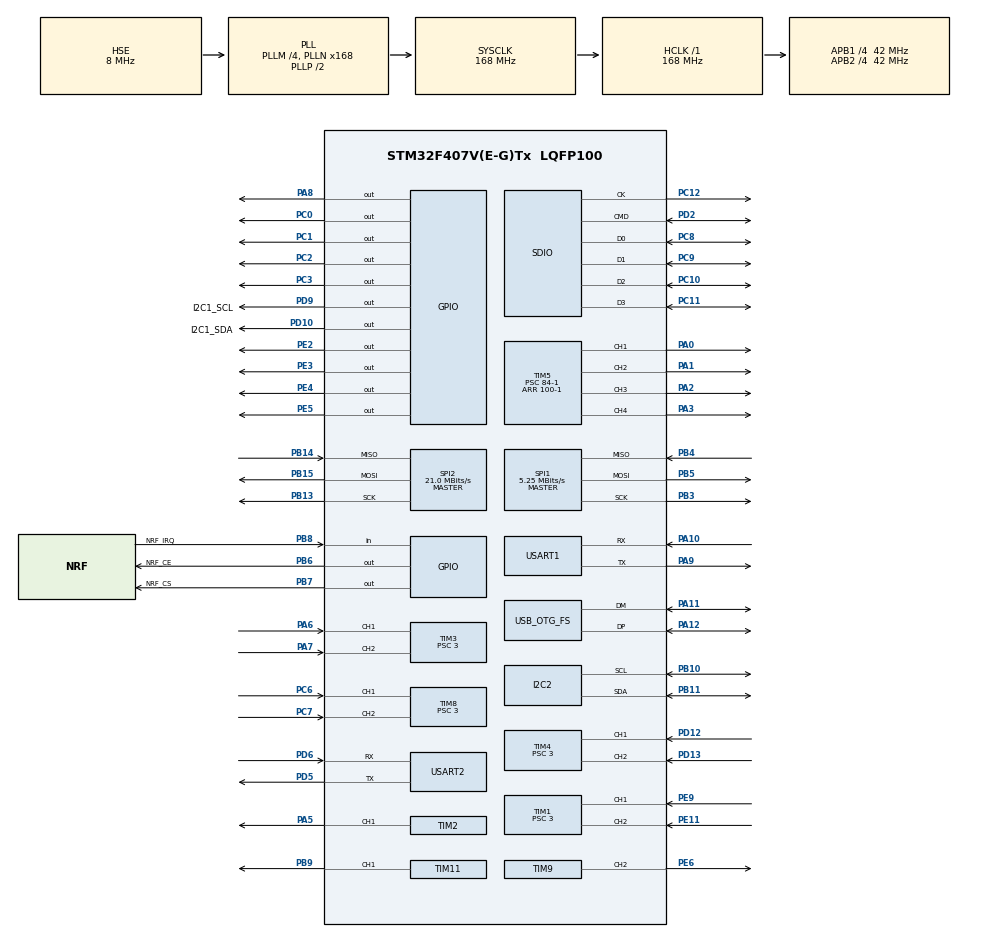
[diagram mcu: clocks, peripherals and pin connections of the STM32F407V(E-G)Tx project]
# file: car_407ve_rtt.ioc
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I2C2.I2C_Mode=I2C_Fast
Mcu.Family=STM32F4
Mcu.Name=STM32F407V(E-G)Tx
Mcu.Package=LQFP100
NVIC.OTG_FS_IRQn=true\:0\:0\:false\:false\:true\:true\:true
NVIC.PriorityGroup=NVIC_PRIORITYGROUP_4
PA0-WKUP.Signal=S_TIM5_CH1
PA1.Signal=S_TIM5_CH2
PA10.Mode=Asynchronous
PA10.Signal=USART1_RX
PA11.Mode=Device_Only
PA11.Signal=USB_OTG_FS_DM
PA12.Mode=Device_Only
PA12.Signal=USB_OTG_FS_DP
PA13.Mode=Serial_Wire
PA13.Signal=SYS_JTMS-SWDIO
PA14.Mode=Serial_Wire
PA14.Signal=SYS_JTCK-SWCLK
PA2.Signal=S_TIM5_CH3
PA3.Signal=S_TIM5_CH4
PA5.Signal=S_TIM2_CH1_ETR
PA6.Signal=S_TIM3_CH1
PA7.Signal=S_TIM3_CH2
PA8.Signal=GPIO_Output
PA9.Mode=Asynchronous
PA9.Signal=USART1_TX
PB10.Mode=I2C
PB10.Signal=I2C2_SCL
PB11.Mode=I2C
PB11.Signal=I2C2_SDA
PB13.Mode=Full_Duplex_Master
PB13.Signal=SPI2_SCK
PB14.Mode=Full_Duplex_Master
PB14.Signal=SPI2_MISO
PB15.Mode=Full_Duplex_Master
PB15.Signal=SPI2_MOSI
PB3.Mode=Full_Duplex_Master
PB3.Signal=SPI1_SCK
PB4.Mode=Full_Duplex_Master
PB4.Signal=SPI1_MISO
PB5.Mode=Full_Duplex_Master
PB5.Signal=SPI1_MOSI
PB6.GPIO_Label=NRF_CE
PB6.Signal=GPIO_Output
PB7.GPIO_Label=NRF_CS
PB7.Signal=GPIO_Output
PB8.GPIO_Label=NRF_IRQ
PB8.Signal=GPIO_Input
PB9.Signal=S_TIM11_CH1
PC0.Signal=GPIO_Output
PC1.Signal=GPIO_Output
PC10.Mode=SD_4_bits_Wide_bus
PC10.Signal=SDIO_D2
PC11.Mode=SD_4_bits_Wide_bus
PC11.Signal=SDIO_D3
PC12.Mode=SD_4_bits_Wide_bus
PC12.Signal=SDIO_CK
PC2.Signal=GPIO_Output
PC3.Signal=GPIO_Output
PC6.Signal=S_TIM8_CH1
PC7.Signal=S_TIM8_CH2
PC8.Mode=SD_4_bits_Wide_bus
PC8.Signal=SDIO_D0
PC9.Mode=SD_4_bits_Wide_bus
PC9.Signal=SDIO_D1
PD10.GPIO_Label=I2C1_SDA
PD10.Signal=GPIO_Output
PD12.Signal=S_TIM4_CH1
PD13.Signal=S_TIM4_CH2
PD2.Mode=SD_4_bits_Wide_bus
PD2.Signal=SDIO_CMD
PD5.Mode=Asynchronous
PD5.Signal=USART2_TX
PD6.Mode=Asynchronous
PD6.Signal=USART2_RX
PD9.GPIO_Label=I2C1_SCL
PD9.Signal=GPIO_Output
PE11.Signal=S_TIM1_CH2
PE2.Signal=GPIO_Output
PE3.Signal=GPIO_Output
PE4.Signal=GPIO_Output
PE5.Signal=GPIO_Output
PE6.Signal=S_TIM9_CH2
PE9.Signal=S_TIM1_CH1
PH0-OSC_IN.Mode=HSE-External-Oscillator
PH0-OSC_IN.Signal=RCC_OSC_IN
PH1-OSC_OUT.Mode=HSE-External-Oscillator
PH1-OSC_OUT.Signal=RCC_OSC_OUT
ProjectManager.HeapSize=0x2000
ProjectManager.StackSize=0x600
ProjectManager.TargetToolchain=EWARM V8
RCC.48MHZClocksFreq_Value=48000000
RCC.AHBFreq_Value=168000000
RCC.APB1CLKDivider=RCC_HCLK_DIV4
RCC.APB1Freq_Value=42000000
RCC.APB1TimFreq_Value=84000000
RCC.APB2CLKDivider=RCC_HCLK_DIV4
RCC.APB2Freq_Value=42000000
RCC.APB2TimFreq_Value=84000000
RCC.CortexFreq_Value=168000000
RCC.HCLKFreq_Value=168000000
RCC.HSE_VALUE=8000000
RCC.HSI_VALUE=16000000
RCC.LSE_VALUE=32768
RCC.PLLM=4
RCC.PLLN=168
RCC.PLLQ=7
RCC.SYSCLKFreq_VALUE=168000000
RCC.SYSCLKSource=RCC_SYSCLKSOURCE_PLLCLK
RCC.VCOOutputFreq_Value=336000000
SH.S_TIM11_CH1.0=TIM11_CH1,PWM Generation1 CH1
SH.S_TIM1_CH1.0=TIM1_CH1,Encoder_Interface
SH.S_TIM1_CH2.0=TIM1_CH2,Encoder_Interface
SH.S_TIM2_CH1_ETR.0=TIM2_CH1,PWM Generation1 CH1
SH.S_TIM3_CH1.0=TIM3_CH1,Encoder_Interface
SH.S_TIM3_CH2.0=TIM3_CH2,Encoder_Interface
SH.S_TIM4_CH1.0=TIM4_CH1,Encoder_Interface
SH.S_TIM4_CH2.0=TIM4_CH2,Encoder_Interface
SH.S_TIM5_CH1.0=TIM5_CH1,PWM Generation1 CH1
SH.S_TIM5_CH2.0=TIM5_CH2,PWM Generation2 CH2
SH.S_TIM5_CH3.0=TIM5_CH3,PWM Generation3 CH3
SH.S_TIM5_CH4.0=TIM5_CH4,PWM Generation4 CH4
SH.S_TIM8_CH1.0=TIM8_CH1,Encoder_Interface
SH.S_TIM8_CH2.0=TIM8_CH2,Encoder_Interface
SH.S_TIM9_CH2.0=TIM9_CH2,PWM Generation2 CH2
SPI1.BaudRatePrescaler=SPI_BAUDRATEPRESCALER_8
SPI1.CalculateBaudRate=5.25 MBits/s
SPI1.Direction=SPI_DIRECTION_2LINES
SPI1.Mode=SPI_MODE_MASTER
SPI1.VirtualType=VM_MASTER
SPI2.CalculateBaudRate=21.0 MBits/s
SPI2.Direction=SPI_DIRECTION_2LINES
SPI2.Mode=SPI_MODE_MASTER
SPI2.VirtualType=VM_MASTER
TIM1.EncoderMode=TIM_ENCODERMODE_TI12
TIM1.Period=65535
TIM1.Prescaler=3
TIM11.Channel=TIM_CHANNEL_1
TIM11.Period=20000-1
TIM11.Prescaler=84-1
TIM2.Channel-PWM\ Generation1\ CH1=TIM_CHANNEL_1
TIM2.Period=20000-1
TIM2.Prescaler=84-1
TIM3.EncoderMode=TIM_ENCODERMODE_TI12
TIM3.Period=65535
TIM3.Prescaler=3
TIM4.EncoderMode=TIM_ENCODERMODE_TI12
TIM4.Period=65535
TIM4.Prescaler=3
TIM5.Channel-PWM\ Generation1\ CH1=TIM_CHANNEL_1
TIM5.Channel-PWM\ Generation2\ CH2=TIM_CHANNEL_2
TIM5.Channel-PWM\ Generation3\ CH3=TIM_CHANNEL_3
TIM5.Channel-PWM\ Generation4\ CH4=TIM_CHANNEL_4
TIM5.Period=100-1
TIM5.Prescaler=84-1
TIM8.EncoderMode=TIM_ENCODERMODE_TI12
TIM8.Period=65535
TIM8.Prescaler=3
TIM9.Channel-PWM\ Generation2\ CH2=TIM_CHANNEL_2
TIM9.Period=20000-1
TIM9.Prescaler=84-1
USART1.VirtualMode=VM_ASYNC
USART2.VirtualMode=VM_ASYNC
USB_OTG_FS.VirtualMode=Device_Only
VP_TIM11_VS_ClockSourceINT.Mode=Enable_Timer
board=custom

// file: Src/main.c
/* USER CODE BEGIN Header */
/**
  ******************************************************************************
  * @file           : main.c
  * @brief          : Main program body
  ******************************************************************************
  * @attention
  *
  * <h2><center>&copy; Copyright (c) 2019 STMicroelectronics.
  * All rights reserved.</center></h2>
  *
  * This software component is licensed by ST under Ultimate Liberty license
  * SLA0044, the "License"; You may not use this file except in compliance with
  * the License. You may obtain a copy of the License at:
  *                             www.st.com/SLA0044
  *
  ******************************************************************************
  */
/* USER CODE END Header */
#include "main.h"

/* USER CODE BEGIN Includes */
#include "nrf_mavlink.h"
#include "Logger.h"
#include "MY_NRF24.h"
/* USER CODE END Includes */

I2C_HandleTypeDef hi2c2;

SD_HandleTypeDef hsd;

SPI_HandleTypeDef hspi1;
SPI_HandleTypeDef hspi2;

TIM_HandleTypeDef htim1;
TIM_HandleTypeDef htim2;
TIM_HandleTypeDef htim3;
TIM_HandleTypeDef htim4;
TIM_HandleTypeDef htim5;
TIM_HandleTypeDef htim8;
TIM_HandleTypeDef htim9;
TIM_HandleTypeDef htim11;

UART_HandleTypeDef huart1;
UART_HandleTypeDef huart2;

PCD_HandleTypeDef hpcd_USB_OTG_FS;

void SystemClock_Config(void);
static void MX_GPIO_Init(void);
static void MX_SDIO_SD_Init(void);
static void MX_SPI1_Init(void);
static void MX_TIM1_Init(void);
static void MX_TIM3_Init(void);
static void MX_TIM4_Init(void);
static void MX_TIM5_Init(void);
static void MX_TIM8_Init(void);
static void MX_USART2_UART_Init(void);
static void MX_USB_OTG_FS_PCD_Init(void);
static void MX_I2C2_Init(void);
static void MX_USART1_UART_Init(void);
static void MX_SPI2_Init(void);
static void MX_TIM2_Init(void);
static void MX_TIM9_Init(void);
static void MX_TIM11_Init(void);
/* USER CODE BEGIN PFP */
void setup(void);
void loop(void);
/* USER CODE END PFP */

/* USER CODE BEGIN 0 */
uint64_t TxpipeAddrs = 0x11223344AA;
/* USER CODE END 0 */

int main(void)
{

  /* MCU Configuration--------------------------------------------------------*/

  /* Reset of all peripherals, Initializes the Flash interface and the Systick. */
  HAL_Init();

  /* Configure the system clock */
  SystemClock_Config();

  /* Initialize all configured peripherals */
  MX_GPIO_Init();
  MX_SDIO_SD_Init();
  MX_SPI1_Init();
  MX_TIM1_Init();
  MX_TIM3_Init();
  MX_TIM4_Init();
  MX_TIM5_Init();
  MX_TIM8_Init();
  MX_USART2_UART_Init();
  MX_USB_OTG_FS_PCD_Init();
  MX_I2C2_Init();
  MX_USART1_UART_Init();
  MX_SPI2_Init();
  MX_TIM2_Init();
  MX_TIM9_Init();
  MX_TIM11_Init();
  /* USER CODE BEGIN 2 */
  NRF24_begin(NRF_CE_GPIO_Port, NRF_CS_Pin, NRF_CE_Pin, hspi1);
  printRadioSettings();

  //**** TRANSMIT - ACK ****//
  NRF24_stopListening();
  NRF24_openWritingPipe(TxpipeAddrs);
  NRF24_setAutoAck(true);
  NRF24_setChannel(52);
  NRF24_setPayloadSize(32);

  NRF24_enableDynamicPayloads();
  NRF24_enableAckPayload();

  Log_Init();
  setup();
  /* USER CODE END 2 */

  /* Infinite loop */
  /* USER CODE BEGIN WHILE */
  while (1)
  {
    update_mavlink();
    loop();
    /* USER CODE END WHILE */

  }
}

void SystemClock_Config(void)
{
  RCC_OscInitTypeDef RCC_OscInitStruct = {0};
  RCC_ClkInitTypeDef RCC_ClkInitStruct = {0};

  /** Configure the main internal regulator output voltage
  */
  __HAL_RCC_PWR_CLK_ENABLE();
  __HAL_PWR_VOLTAGESCALING_CONFIG(PWR_REGULATOR_VOLTAGE_SCALE1);
  /** Initializes the RCC Oscillators according to the specified parameters
  * in the RCC_OscInitTypeDef structure.
  */
  RCC_OscInitStruct.OscillatorType = RCC_OSCILLATORTYPE_HSE;
  RCC_OscInitStruct.HSEState = RCC_HSE_ON;
  RCC_OscInitStruct.PLL.PLLState = RCC_PLL_ON;
  RCC_OscInitStruct.PLL.PLLSource = RCC_PLLSOURCE_HSE;
  RCC_OscInitStruct.PLL.PLLM = 4;
  RCC_OscInitStruct.PLL.PLLN = 168;
  RCC_OscInitStruct.PLL.PLLP = RCC_PLLP_DIV2;
  RCC_OscInitStruct.PLL.PLLQ = 7;
  if (HAL_RCC_OscConfig(&RCC_OscInitStruct) != HAL_OK)
  {
    Error_Handler();
  }
  /** Initializes the CPU, AHB and APB buses clocks
  */
  RCC_ClkInitStruct.ClockType = RCC_CLOCKTYPE_HCLK|RCC_CLOCKTYPE_SYSCLK
                              |RCC_CLOCKTYPE_PCLK1|RCC_CLOCKTYPE_PCLK2;
  RCC_ClkInitStruct.SYSCLKSource = RCC_SYSCLKSOURCE_PLLCLK;
  RCC_ClkInitStruct.AHBCLKDivider = RCC_SYSCLK_DIV1;
  RCC_ClkInitStruct.APB1CLKDivider = RCC_HCLK_DIV4;
  RCC_ClkInitStruct.APB2CLKDivider = RCC_HCLK_DIV4;

  if (HAL_RCC_ClockConfig(&RCC_ClkInitStruct, FLASH_LATENCY_5) != HAL_OK)
  {
    Error_Handler();
  }
}

static void MX_I2C2_Init(void)
{

  hi2c2.Instance = I2C2;
  hi2c2.Init.ClockSpeed = 400000;
  hi2c2.Init.DutyCycle = I2C_DUTYCYCLE_2;
  hi2c2.Init.OwnAddress1 = 0;
  hi2c2.Init.AddressingMode = I2C_ADDRESSINGMODE_7BIT;
  hi2c2.Init.DualAddressMode = I2C_DUALADDRESS_DISABLE;
  hi2c2.Init.OwnAddress2 = 0;
  hi2c2.Init.GeneralCallMode = I2C_GENERALCALL_DISABLE;
  hi2c2.Init.NoStretchMode = I2C_NOSTRETCH_DISABLE;
  if (HAL_I2C_Init(&hi2c2) != HAL_OK)
  {
    Error_Handler();
  }

}

static void MX_SDIO_SD_Init(void)
{

  hsd.Instance = SDIO;
  hsd.Init.ClockEdge = SDIO_CLOCK_EDGE_RISING;
  hsd.Init.ClockBypass = SDIO_CLOCK_BYPASS_DISABLE;
  hsd.Init.ClockPowerSave = SDIO_CLOCK_POWER_SAVE_DISABLE;
  hsd.Init.BusWide = SDIO_BUS_WIDE_1B;
  hsd.Init.HardwareFlowControl = SDIO_HARDWARE_FLOW_CONTROL_DISABLE;
  hsd.Init.ClockDiv = 0;
  if (HAL_SD_Init(&hsd) != HAL_OK)
  {
    Error_Handler();
  }
  if (HAL_SD_ConfigWideBusOperation(&hsd, SDIO_BUS_WIDE_4B) != HAL_OK)
  {
    Error_Handler();
  }

}

static void MX_SPI1_Init(void)
{

  /* SPI1 parameter configuration*/
  hspi1.Instance = SPI1;
  hspi1.Init.Mode = SPI_MODE_MASTER;
  hspi1.Init.Direction = SPI_DIRECTION_2LINES;
  hspi1.Init.DataSize = SPI_DATASIZE_8BIT;
  hspi1.Init.CLKPolarity = SPI_POLARITY_LOW;
  hspi1.Init.CLKPhase = SPI_PHASE_1EDGE;
  hspi1.Init.NSS = SPI_NSS_SOFT;
  hspi1.Init.BaudRatePrescaler = SPI_BAUDRATEPRESCALER_8;
  hspi1.Init.FirstBit = SPI_FIRSTBIT_MSB;
  hspi1.Init.TIMode = SPI_TIMODE_DISABLE;
  hspi1.Init.CRCCalculation = SPI_CRCCALCULATION_DISABLE;
  hspi1.Init.CRCPolynomial = 10;
  if (HAL_SPI_Init(&hspi1) != HAL_OK)
  {
    Error_Handler();
  }

}

static void MX_SPI2_Init(void)
{

  /* SPI2 parameter configuration*/
  hspi2.Instance = SPI2;
  hspi2.Init.Mode = SPI_MODE_MASTER;
  hspi2.Init.Direction = SPI_DIRECTION_2LINES;
  hspi2.Init.DataSize = SPI_DATASIZE_8BIT;
  hspi2.Init.CLKPolarity = SPI_POLARITY_LOW;
  hspi2.Init.CLKPhase = SPI_PHASE_1EDGE;
  hspi2.Init.NSS = SPI_NSS_SOFT;
  hspi2.Init.BaudRatePrescaler = SPI_BAUDRATEPRESCALER_2;
  hspi2.Init.FirstBit = SPI_FIRSTBIT_MSB;
  hspi2.Init.TIMode = SPI_TIMODE_DISABLE;
  hspi2.Init.CRCCalculation = SPI_CRCCALCULATION_DISABLE;
  hspi2.Init.CRCPolynomial = 10;
  if (HAL_SPI_Init(&hspi2) != HAL_OK)
  {
    Error_Handler();
  }

}

static void MX_TIM1_Init(void)
{

  TIM_Encoder_InitTypeDef sConfig = {0};
  TIM_MasterConfigTypeDef sMasterConfig = {0};

  htim1.Instance = TIM1;
  htim1.Init.Prescaler = 3;
  htim1.Init.CounterMode = TIM_COUNTERMODE_UP;
  htim1.Init.Period = 65535;
  htim1.Init.ClockDivision = TIM_CLOCKDIVISION_DIV1;
  htim1.Init.RepetitionCounter = 0;
  htim1.Init.AutoReloadPreload = TIM_AUTORELOAD_PRELOAD_DISABLE;
  sConfig.EncoderMode = TIM_ENCODERMODE_TI12;
  sConfig.IC1Polarity = TIM_ICPOLARITY_RISING;
  sConfig.IC1Selection = TIM_ICSELECTION_DIRECTTI;
  sConfig.IC1Prescaler = TIM_ICPSC_DIV1;
  sConfig.IC1Filter = 0;
  sConfig.IC2Polarity = TIM_ICPOLARITY_RISING;
  sConfig.IC2Selection = TIM_ICSELECTION_DIRECTTI;
  sConfig.IC2Prescaler = TIM_ICPSC_DIV1;
  sConfig.IC2Filter = 0;
  if (HAL_TIM_Encoder_Init(&htim1, &sConfig) != HAL_OK)
  {
    Error_Handler();
  }
  sMasterConfig.MasterOutputTrigger = TIM_TRGO_RESET;
  sMasterConfig.MasterSlaveMode = TIM_MASTERSLAVEMODE_DISABLE;
  if (HAL_TIMEx_MasterConfigSynchronization(&htim1, &sMasterConfig) != HAL_OK)
  {
    Error_Handler();
  }

}

static void MX_TIM2_Init(void)
{

  TIM_MasterConfigTypeDef sMasterConfig = {0};
  TIM_OC_InitTypeDef sConfigOC = {0};

  htim2.Instance = TIM2;
  htim2.Init.Prescaler = 84-1;
  htim2.Init.CounterMode = TIM_COUNTERMODE_UP;
  htim2.Init.Period = 20000-1;
  htim2.Init.ClockDivision = TIM_CLOCKDIVISION_DIV1;
  htim2.Init.AutoReloadPreload = TIM_AUTORELOAD_PRELOAD_DISABLE;
  if (HAL_TIM_PWM_Init(&htim2) != HAL_OK)
  {
    Error_Handler();
  }
  sMasterConfig.MasterOutputTrigger = TIM_TRGO_RESET;
  sMasterConfig.MasterSlaveMode = TIM_MASTERSLAVEMODE_DISABLE;
  if (HAL_TIMEx_MasterConfigSynchronization(&htim2, &sMasterConfig) != HAL_OK)
  {
    Error_Handler();
  }
  sConfigOC.OCMode = TIM_OCMODE_PWM1;
  sConfigOC.Pulse = 0;
  sConfigOC.OCPolarity = TIM_OCPOLARITY_HIGH;
  sConfigOC.OCFastMode = TIM_OCFAST_DISABLE;
  if (HAL_TIM_PWM_ConfigChannel(&htim2, &sConfigOC, TIM_CHANNEL_1) != HAL_OK)
  {
    Error_Handler();
  }
  HAL_TIM_MspPostInit(&htim2);

}

static void MX_TIM3_Init(void)
{

  TIM_Encoder_InitTypeDef sConfig = {0};
  TIM_MasterConfigTypeDef sMasterConfig = {0};

  htim3.Instance = TIM3;
  htim3.Init.Prescaler = 3;
  htim3.Init.CounterMode = TIM_COUNTERMODE_UP;
  htim3.Init.Period = 65535;
  htim3.Init.ClockDivision = TIM_CLOCKDIVISION_DIV1;
  htim3.Init.AutoReloadPreload = TIM_AUTORELOAD_PRELOAD_DISABLE;
  sConfig.EncoderMode = TIM_ENCODERMODE_TI12;
  sConfig.IC1Polarity = TIM_ICPOLARITY_RISING;
  sConfig.IC1Selection = TIM_ICSELECTION_DIRECTTI;
  sConfig.IC1Prescaler = TIM_ICPSC_DIV1;
  sConfig.IC1Filter = 0;
  sConfig.IC2Polarity = TIM_ICPOLARITY_RISING;
  sConfig.IC2Selection = TIM_ICSELECTION_DIRECTTI;
  sConfig.IC2Prescaler = TIM_ICPSC_DIV1;
  sConfig.IC2Filter = 0;
  if (HAL_TIM_Encoder_Init(&htim3, &sConfig) != HAL_OK)
  {
    Error_Handler();
  }
  sMasterConfig.MasterOutputTrigger = TIM_TRGO_RESET;
  sMasterConfig.MasterSlaveMode = TIM_MASTERSLAVEMODE_DISABLE;
  if (HAL_TIMEx_MasterConfigSynchronization(&htim3, &sMasterConfig) != HAL_OK)
  {
    Error_Handler();
  }

}

static void MX_TIM4_Init(void)
{

  TIM_Encoder_InitTypeDef sConfig = {0};
  TIM_MasterConfigTypeDef sMasterConfig = {0};

  htim4.Instance = TIM4;
  htim4.Init.Prescaler = 3;
  htim4.Init.CounterMode = TIM_COUNTERMODE_UP;
  htim4.Init.Period = 65535;
  htim4.Init.ClockDivision = TIM_CLOCKDIVISION_DIV1;
  htim4.Init.AutoReloadPreload = TIM_AUTORELOAD_PRELOAD_DISABLE;
  sConfig.EncoderMode = TIM_ENCODERMODE_TI12;
  sConfig.IC1Polarity = TIM_ICPOLARITY_RISING;
  sConfig.IC1Selection = TIM_ICSELECTION_DIRECTTI;
  sConfig.IC1Prescaler = TIM_ICPSC_DIV1;
  sConfig.IC1Filter = 0;
  sConfig.IC2Polarity = TIM_ICPOLARITY_RISING;
  sConfig.IC2Selection = TIM_ICSELECTION_DIRECTTI;
  sConfig.IC2Prescaler = TIM_ICPSC_DIV1;
  sConfig.IC2Filter = 0;
  if (HAL_TIM_Encoder_Init(&htim4, &sConfig) != HAL_OK)
  {
    Error_Handler();
  }
  sMasterConfig.MasterOutputTrigger = TIM_TRGO_RESET;
  sMasterConfig.MasterSlaveMode = TIM_MASTERSLAVEMODE_DISABLE;
  if (HAL_TIMEx_MasterConfigSynchronization(&htim4, &sMasterConfig) != HAL_OK)
  {
    Error_Handler();
  }

}

static void MX_TIM5_Init(void)
{

  TIM_MasterConfigTypeDef sMasterConfig = {0};
  TIM_OC_InitTypeDef sConfigOC = {0};

  htim5.Instance = TIM5;
  htim5.Init.Prescaler = 84-1;
  htim5.Init.CounterMode = TIM_COUNTERMODE_UP;
  htim5.Init.Period = 100-1;
  htim5.Init.ClockDivision = TIM_CLOCKDIVISION_DIV1;
  htim5.Init.AutoReloadPreload = TIM_AUTORELOAD_PRELOAD_DISABLE;
  if (HAL_TIM_PWM_Init(&htim5) != HAL_OK)
  {
    Error_Handler();
  }
  sMasterConfig.MasterOutputTrigger = TIM_TRGO_RESET;
  sMasterConfig.MasterSlaveMode = TIM_MASTERSLAVEMODE_DISABLE;
  if (HAL_TIMEx_MasterConfigSynchronization(&htim5, &sMasterConfig) != HAL_OK)
  {
    Error_Handler();
  }
  sConfigOC.OCMode = TIM_OCMODE_PWM1;
  sConfigOC.Pulse = 0;
  sConfigOC.OCPolarity = TIM_OCPOLARITY_HIGH;
  sConfigOC.OCFastMode = TIM_OCFAST_DISABLE;
  if (HAL_TIM_PWM_ConfigChannel(&htim5, &sConfigOC, TIM_CHANNEL_1) != HAL_OK)
  {
    Error_Handler();
  }
  if (HAL_TIM_PWM_ConfigChannel(&htim5, &sConfigOC, TIM_CHANNEL_2) != HAL_OK)
  {
    Error_Handler();
  }
  if (HAL_TIM_PWM_ConfigChannel(&htim5, &sConfigOC, TIM_CHANNEL_3) != HAL_OK)
  {
    Error_Handler();
  }
  if (HAL_TIM_PWM_ConfigChannel(&htim5, &sConfigOC, TIM_CHANNEL_4) != HAL_OK)
  {
    Error_Handler();
  }
  HAL_TIM_MspPostInit(&htim5);

}

static void MX_TIM8_Init(void)
{

  TIM_Encoder_InitTypeDef sConfig = {0};
  TIM_MasterConfigTypeDef sMasterConfig = {0};

  htim8.Instance = TIM8;
  htim8.Init.Prescaler = 3;
  htim8.Init.CounterMode = TIM_COUNTERMODE_UP;
  htim8.Init.Period = 65535;
  htim8.Init.ClockDivision = TIM_CLOCKDIVISION_DIV1;
  htim8.Init.RepetitionCounter = 0;
  htim8.Init.AutoReloadPreload = TIM_AUTORELOAD_PRELOAD_DISABLE;
  sConfig.EncoderMode = TIM_ENCODERMODE_TI12;
  sConfig.IC1Polarity = TIM_ICPOLARITY_RISING;
  sConfig.IC1Selection = TIM_ICSELECTION_DIRECTTI;
  sConfig.IC1Prescaler = TIM_ICPSC_DIV1;
  sConfig.IC1Filter = 0;
  sConfig.IC2Polarity = TIM_ICPOLARITY_RISING;
  sConfig.IC2Selection = TIM_ICSELECTION_DIRECTTI;
  sConfig.IC2Prescaler = TIM_ICPSC_DIV1;
  sConfig.IC2Filter = 0;
  if (HAL_TIM_Encoder_Init(&htim8, &sConfig) != HAL_OK)
  {
    Error_Handler();
  }
  sMasterConfig.MasterOutputTrigger = TIM_TRGO_RESET;
  sMasterConfig.MasterSlaveMode = TIM_MASTERSLAVEMODE_DISABLE;
  if (HAL_TIMEx_MasterConfigSynchronization(&htim8, &sMasterConfig) != HAL_OK)
  {
    Error_Handler();
  }

}

static void MX_TIM9_Init(void)
{

  TIM_OC_InitTypeDef sConfigOC = {0};

  htim9.Instance = TIM9;
  htim9.Init.Prescaler = 84-1;
  htim9.Init.CounterMode = TIM_COUNTERMODE_UP;
  htim9.Init.Period = 20000-1;
  htim9.Init.ClockDivision = TIM_CLOCKDIVISION_DIV1;
  htim9.Init.AutoReloadPreload = TIM_AUTORELOAD_PRELOAD_DISABLE;
  if (HAL_TIM_PWM_Init(&htim9) != HAL_OK)
  {
    Error_Handler();
  }
  sConfigOC.OCMode = TIM_OCMODE_PWM1;
  sConfigOC.Pulse = 0;
  sConfigOC.OCPolarity = TIM_OCPOLARITY_HIGH;
  sConfigOC.OCFastMode = TIM_OCFAST_DISABLE;
  if (HAL_TIM_PWM_ConfigChannel(&htim9, &sConfigOC, TIM_CHANNEL_2) != HAL_OK)
  {
    Error_Handler();
  }
  HAL_TIM_MspPostInit(&htim9);

}

static void MX_TIM11_Init(void)
{

  TIM_OC_InitTypeDef sConfigOC = {0};

  htim11.Instance = TIM11;
  htim11.Init.Prescaler = 84-1;
  htim11.Init.CounterMode = TIM_COUNTERMODE_UP;
  htim11.Init.Period = 20000-1;
  htim11.Init.ClockDivision = TIM_CLOCKDIVISION_DIV1;
  htim11.Init.AutoReloadPreload = TIM_AUTORELOAD_PRELOAD_DISABLE;
  if (HAL_TIM_Base_Init(&htim11) != HAL_OK)
  {
    Error_Handler();
  }
  if (HAL_TIM_PWM_Init(&htim11) != HAL_OK)
  {
    Error_Handler();
  }
  sConfigOC.OCMode = TIM_OCMODE_PWM1;
  sConfigOC.Pulse = 0;
  sConfigOC.OCPolarity = TIM_OCPOLARITY_HIGH;
  sConfigOC.OCFastMode = TIM_OCFAST_DISABLE;
  if (HAL_TIM_PWM_ConfigChannel(&htim11, &sConfigOC, TIM_CHANNEL_1) != HAL_OK)
  {
    Error_Handler();
  }
  HAL_TIM_MspPostInit(&htim11);

}

static void MX_USART1_UART_Init(void)
{

  huart1.Instance = USART1;
  huart1.Init.BaudRate = 115200;
  huart1.Init.WordLength = UART_WORDLENGTH_8B;
  huart1.Init.StopBits = UART_STOPBITS_1;
  huart1.Init.Parity = UART_PARITY_NONE;
  huart1.Init.Mode = UART_MODE_TX_RX;
  huart1.Init.HwFlowCtl = UART_HWCONTROL_NONE;
  huart1.Init.OverSampling = UART_OVERSAMPLING_16;
  if (HAL_UART_Init(&huart1) != HAL_OK)
  {
    Error_Handler();
  }

}

static void MX_USART2_UART_Init(void)
{

  huart2.Instance = USART2;
  huart2.Init.BaudRate = 115200;
  huart2.Init.WordLength = UART_WORDLENGTH_8B;
  huart2.Init.StopBits = UART_STOPBITS_1;
  huart2.Init.Parity = UART_PARITY_NONE;
  huart2.Init.Mode = UART_MODE_TX_RX;
  huart2.Init.HwFlowCtl = UART_HWCONTROL_NONE;
  huart2.Init.OverSampling = UART_OVERSAMPLING_16;
  if (HAL_UART_Init(&huart2) != HAL_OK)
  {
    Error_Handler();
  }

}

static void MX_USB_OTG_FS_PCD_Init(void)
{

  hpcd_USB_OTG_FS.Instance = USB_OTG_FS;
  hpcd_USB_OTG_FS.Init.dev_endpoints = 4;
  hpcd_USB_OTG_FS.Init.speed = PCD_SPEED_FULL;
  hpcd_USB_OTG_FS.Init.dma_enable = DISABLE;
  hpcd_USB_OTG_FS.Init.phy_itface = PCD_PHY_EMBEDDED;
  hpcd_USB_OTG_FS.Init.Sof_enable = DISABLE;
  hpcd_USB_OTG_FS.Init.low_power_enable = DISABLE;
  hpcd_USB_OTG_FS.Init.lpm_enable = DISABLE;
  hpcd_USB_OTG_FS.Init.vbus_sensing_enable = DISABLE;
  hpcd_USB_OTG_FS.Init.use_dedicated_ep1 = DISABLE;
  if (HAL_PCD_Init(&hpcd_USB_OTG_FS) != HAL_OK)
  {
    Error_Handler();
  }

}

static void MX_GPIO_Init(void)
{
  GPIO_InitTypeDef GPIO_InitStruct = {0};

  /* GPIO Ports Clock Enable */
  __HAL_RCC_GPIOE_CLK_ENABLE();
  __HAL_RCC_GPIOH_CLK_ENABLE();
  __HAL_RCC_GPIOC_CLK_ENABLE();
  __HAL_RCC_GPIOA_CLK_ENABLE();
  __HAL_RCC_GPIOB_CLK_ENABLE();
  __HAL_RCC_GPIOD_CLK_ENABLE();

  /*Configure GPIO pin Output Level */
  HAL_GPIO_WritePin(GPIOE, GPIO_PIN_2|GPIO_PIN_3|GPIO_PIN_4|GPIO_PIN_5, GPIO_PIN_RESET);

  /*Configure GPIO pin Output Level */
  HAL_GPIO_WritePin(GPIOC, GPIO_PIN_0|GPIO_PIN_1|GPIO_PIN_2|GPIO_PIN_3, GPIO_PIN_RESET);

  /*Configure GPIO pin Output Level */
  HAL_GPIO_WritePin(GPIOD, I2C1_SCL_Pin|I2C1_SDA_Pin, GPIO_PIN_RESET);

  /*Configure GPIO pin Output Level */
  HAL_GPIO_WritePin(GPIOA, GPIO_PIN_8, GPIO_PIN_RESET);

  /*Configure GPIO pin Output Level */
  HAL_GPIO_WritePin(GPIOB, NRF_CE_Pin|NRF_CS_Pin, GPIO_PIN_RESET);

  /*Configure GPIO pins : PE2 PE3 PE4 PE5 */
  GPIO_InitStruct.Pin = GPIO_PIN_2|GPIO_PIN_3|GPIO_PIN_4|GPIO_PIN_5;
  GPIO_InitStruct.Mode = GPIO_MODE_OUTPUT_PP;
  GPIO_InitStruct.Pull = GPIO_NOPULL;
  GPIO_InitStruct.Speed = GPIO_SPEED_FREQ_LOW;
  HAL_GPIO_Init(GPIOE, &GPIO_InitStruct);

  /*Configure GPIO pins : PC0 PC1 PC2 PC3 */
  GPIO_InitStruct.Pin = GPIO_PIN_0|GPIO_PIN_1|GPIO_PIN_2|GPIO_PIN_3;
  GPIO_InitStruct.Mode = GPIO_MODE_OUTPUT_PP;
  GPIO_InitStruct.Pull = GPIO_NOPULL;
  GPIO_InitStruct.Speed = GPIO_SPEED_FREQ_LOW;
  HAL_GPIO_Init(GPIOC, &GPIO_InitStruct);

  /*Configure GPIO pins : I2C1_SCL_Pin I2C1_SDA_Pin */
  GPIO_InitStruct.Pin = I2C1_SCL_Pin|I2C1_SDA_Pin;
  GPIO_InitStruct.Mode = GPIO_MODE_OUTPUT_PP;
  GPIO_InitStruct.Pull = GPIO_NOPULL;
  GPIO_InitStruct.Speed = GPIO_SPEED_FREQ_LOW;
  HAL_GPIO_Init(GPIOD, &GPIO_InitStruct);

  /*Configure GPIO pin : PA8 */
  GPIO_InitStruct.Pin = GPIO_PIN_8;
  GPIO_InitStruct.Mode = GPIO_MODE_OUTPUT_PP;
  GPIO_InitStruct.Pull = GPIO_NOPULL;
  GPIO_InitStruct.Speed = GPIO_SPEED_FREQ_LOW;
  HAL_GPIO_Init(GPIOA, &GPIO_InitStruct);

  /*Configure GPIO pins : NRF_CE_Pin NRF_CS_Pin */
  GPIO_InitStruct.Pin = NRF_CE_Pin|NRF_CS_Pin;
  GPIO_InitStruct.Mode = GPIO_MODE_OUTPUT_PP;
  GPIO_InitStruct.Pull = GPIO_NOPULL;
  GPIO_InitStruct.Speed = GPIO_SPEED_FREQ_LOW;
  HAL_GPIO_Init(GPIOB, &GPIO_InitStruct);

  /*Configure GPIO pin : NRF_IRQ_Pin */
  GPIO_InitStruct.Pin = NRF_IRQ_Pin;
  GPIO_InitStruct.Mode = GPIO_MODE_INPUT;
  GPIO_InitStruct.Pull = GPIO_NOPULL;
  HAL_GPIO_Init(NRF_IRQ_GPIO_Port, &GPIO_InitStruct);

}

void Error_Handler(void)
{
}

/************************ (C) COPYRIGHT STMicroelectronics *****END OF FILE****/
